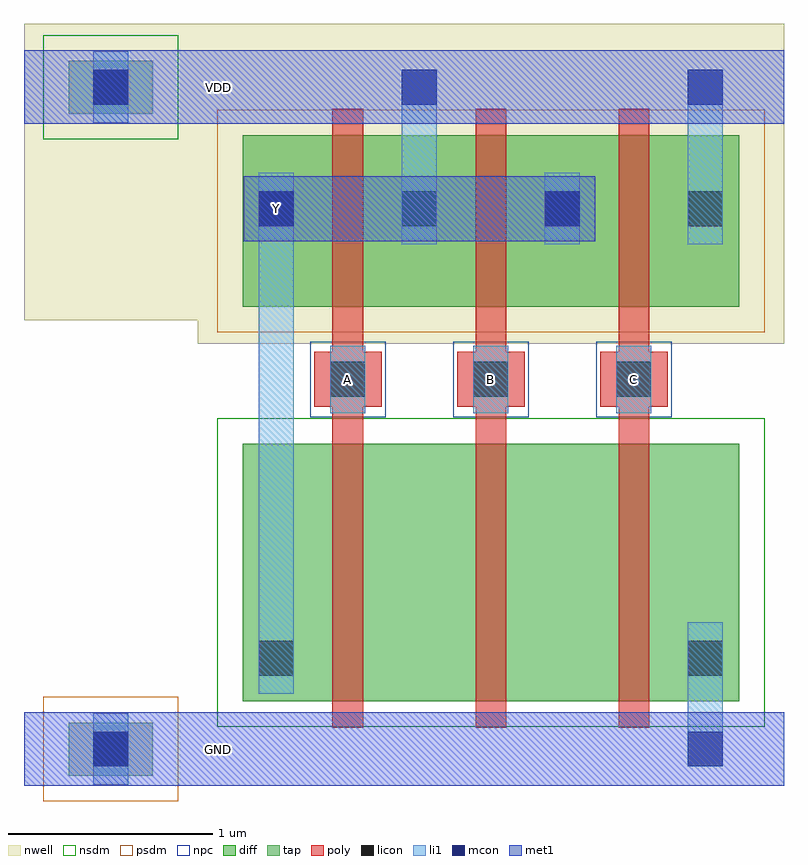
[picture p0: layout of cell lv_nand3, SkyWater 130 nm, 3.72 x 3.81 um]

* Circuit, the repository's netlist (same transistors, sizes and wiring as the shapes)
* NGSPICE file created from lv_nand3.ext - technology: sky130A

.subckt nand3 A B C Y VDD GND w_0_397# VSUBS
X0 a_302_47# B a_162_47# VSUBS sky130_fd_pr__nfet_01v8 ad=0.3465 pd=1.81 as=0.3465 ps=1.81 w=1.26 l=0.15
X1 VDD C Y w_0_397# sky130_fd_pr__pfet_01v8 ad=0.3696 pd=2.56 as=0.231 ps=1.39 w=0.84 l=0.15
X2 Y B VDD w_0_397# sky130_fd_pr__pfet_01v8 ad=0.231 pd=1.39 as=0.231 ps=1.39 w=0.84 l=0.15
X3 VDD A Y w_0_397# sky130_fd_pr__pfet_01v8 ad=0.231 pd=1.39 as=0.3696 ps=2.56 w=0.84 l=0.15
X4 GND C a_302_47# VSUBS sky130_fd_pr__nfet_01v8 ad=0.5544 pd=3.4 as=0.3465 ps=1.81 w=1.26 l=0.15
X5 a_162_47# A Y VSUBS sky130_fd_pr__nfet_01v8 ad=0.3465 pd=1.81 as=0.5544 ps=3.4 w=1.26 l=0.15
.ends

.subckt lv_nand3 A B C Y VDD GND
Xu A B C Y VDD GND VDD GND nand3
.ends

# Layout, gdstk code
import gdstk
lib = gdstk.Library(unit=1e-6, precision=1e-09)
def R(c, l, rs):  # rectangles x0, y0, x1, y1
    for r in rs: c.add(gdstk.rectangle(r[:2], r[2:], *l))
def A(c, l, x, y, w, h, nx, ny, dx, dy):  # array of equal rectangles
    R(c, l, [(x+i*dx, y+j*dy, x+i*dx+w, y+j*dy+h) for i in range(nx) for j in range(ny)])
nwell = (64, 20)
diff = (65, 20)
tap = (65, 44)
poly = (66, 20)
licon = (66, 44)
li1 = (67, 20)
mcon = (67, 44)
met1 = (68, 20)
nsdm = (93, 44)
psdm = (94, 20)
npc = (95, 20)

nand3 = lib.new_cell('nand3')
R(nand3, nwell, [(0,1.985,2.87,3.55)])
R(nand3, diff, [(0.22,0.235,2.65,1.495), (0.22,2.165,2.65,3.005)])
A(nand3, poly, 0.66, 0.105, 0.15, 1.57, 3, 1, 0.7, 0)
A(nand3, poly, 0.57, 1.675, 0.33, 0.27, 3, 1, 0.7, 0)
A(nand3, poly, 0.66, 1.945, 0.15, 1.19, 3, 1, 0.7, 0)
A(nand3, licon, 0.65, 1.725, 0.17, 0.17, 3, 1, 0.7, 0)
A(nand3, licon, 0.3, 2.56, 0.17, 0.17, 4, 1, 0.7, 0)
R(nand3, licon, [(0.3,0.36,0.47,0.53), (2.4,0.36,2.57,0.53)])
A(nand3, li1, 0.65, 1.645, 0.17, 0.33, 3, 1, 0.7, 0)
R(nand3, li1, [(2.4,-0.085,2.57,0.62), (0.3,0.27,0.47,2.82), (1,2.47,1.17,3.325), (1.7,2.47,1.87,2.82), (2.4,2.47,2.57,3.325)])
R(nand3, mcon, [(2.4,-0.085,2.57,0.085), (0.3,2.56,0.47,2.73), (1.7,2.56,1.87,2.73), (1,3.155,1.17,3.325), (2.4,3.155,2.57,3.325)])
R(nand3, met1, [(0,-0.18,2.87,0.18), (0.225,2.485,1.945,2.805), (0,3.06,2.87,3.42)])
R(nand3, nsdm, [(0.095,0.11,2.775,1.62)])
R(nand3, psdm, [(0.095,2.04,2.775,3.13)])
A(nand3, npc, 0.55, 1.625, 0.37, 0.37, 3, 1, 0.7, 0)
nand3.add(gdstk.Label('A', (0.735,1.81), layer=67, texttype=5))
nand3.add(gdstk.Label('B', (1.435,1.81), layer=67, texttype=5))
nand3.add(gdstk.Label('C', (2.135,1.81), layer=67, texttype=5))
nand3.add(gdstk.Label('Y', (0.385,2.645), layer=68, texttype=5))
nand3.add(gdstk.Label('VDD', (0.1,3.24), layer=68, texttype=5))
nand3.add(gdstk.Label('GND', (0.1,0), layer=68, texttype=5))

tap_ = lib.new_cell('tap')
R(tap_, nwell, [(0,2.1,0.85,3.55)])
R(tap_, tap, [(0.22,-0.13,0.63,0.13), (0.22,3.11,0.63,3.37)])
R(tap_, licon, [(0.34,-0.085,0.51,0.085), (0.34,3.155,0.51,3.325)])
R(tap_, li1, [(0.34,-0.175,0.51,0.175), (0.34,3.065,0.51,3.415)])
R(tap_, mcon, [(0.34,-0.085,0.51,0.085), (0.34,3.155,0.51,3.325)])
R(tap_, met1, [(0,-0.18,0.85,0.18), (0,3.06,0.85,3.42)])
R(tap_, nsdm, [(0.095,2.985,0.755,3.495)])
R(tap_, psdm, [(0.095,-0.255,0.755,0.255)])
tap_.add(gdstk.Label('VDD', (0.1,3.24), layer=68, texttype=5))
tap_.add(gdstk.Label('GND', (0.1,0), layer=68, texttype=5))

lv_nand3 = lib.new_cell('lv_nand3')
A(lv_nand3, li1, 1.5, 1.725, 0.17, 0.17, 3, 1, 0.7, 0)
R(lv_nand3, met1, [(0.865,-0.085,1.035,0.085), (1.15,2.56,1.32,2.73), (0.865,3.155,1.035,3.325)])
lv_nand3.add(gdstk.Reference(nand3, (0.85,0)))
lv_nand3.add(gdstk.Reference(tap_, (0,0)))
lv_nand3.add(gdstk.Label('A', (1.585,1.81), layer=67, texttype=5))
lv_nand3.add(gdstk.Label('B', (2.285,1.81), layer=67, texttype=5))
lv_nand3.add(gdstk.Label('C', (2.985,1.81), layer=67, texttype=5))
lv_nand3.add(gdstk.Label('Y', (1.235,2.645), layer=68, texttype=5))
lv_nand3.add(gdstk.Label('VDD', (0.95,3.24), layer=68, texttype=5))
lv_nand3.add(gdstk.Label('GND', (0.95,0), layer=68, texttype=5))

lib.write_gds('lv_nand3.gds')
